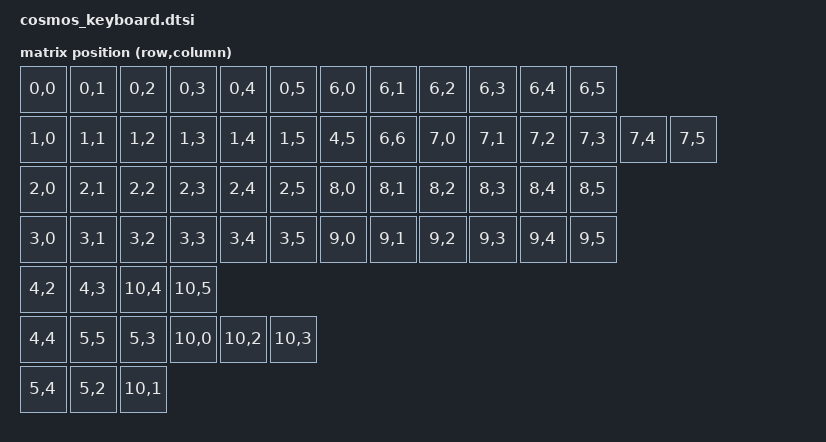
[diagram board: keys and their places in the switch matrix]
#include "cosmos_keyboard-layouts.dtsi"
#include <dt-bindings/zmk/matrix_transform.h>

/ {
    matrix_transform0: matrix_transform0 {
        compatible = "zmk,matrix-transform";
        columns = <7>;
        rows = <11>;
        map = <
            RC(0,0) RC(0,1) RC(0,2) RC(0,3) RC(0,4) RC(0,5) RC(6,0) RC(6,1) RC(6,2) RC(6,3) RC(6,4) RC(6,5)
            RC(1,0) RC(1,1) RC(1,2) RC(1,3) RC(1,4) RC(1,5) RC(4,5) RC(6,6) RC(7,0) RC(7,1) RC(7,2) RC(7,3) RC(7,4) RC(7,5)
            RC(2,0) RC(2,1) RC(2,2) RC(2,3) RC(2,4) RC(2,5) RC(8,0) RC(8,1) RC(8,2) RC(8,3) RC(8,4) RC(8,5)
            RC(3,0) RC(3,1) RC(3,2) RC(3,3) RC(3,4) RC(3,5) RC(9,0) RC(9,1) RC(9,2) RC(9,3) RC(9,4) RC(9,5)
            RC(4,2) RC(4,3) RC(10,4) RC(10,5)
            RC(4,4) RC(5,5) RC(5,3) RC(10,0) RC(10,2) RC(10,3)
            RC(5,4) RC(5,2) RC(10,1)
        >;
    };
};

&physical_layout_cosmos_keyboard {
    transform = <&matrix_transform0>;
};

// Encoders for all parts of the keyboard.
// If the encoder(s) are not behaving as expected,
// update steps and triggers-per-rotation to match your hardware.
// All pin assignments are done in the part overlays.

/ {
    encoder_left0: encoder_left0 {
        compatible = "alps,ec11";
        steps = <80>;
        status = "disabled";
    };
    encoder_right0: encoder_right0 {
        compatible = "alps,ec11";
        steps = <80>;
        status = "disabled";
    };
    encoder_right1: encoder_right1 {
        compatible = "alps,ec11";
        steps = <80>;
        status = "disabled";
    };

    sensors: sensors {
        compatible = "zmk,keymap-sensors";
        sensors = <&encoder_left0 &encoder_right0 &encoder_right1>;
        triggers-per-rotation = <20>;
    };
};

// Input devices
/ {
    split_inputs {
        #address-cells = <1>;
        #size-cells = <0>;

        input_split_left0: input_split_left0@0 {
            compatible = "zmk,input-split";
            reg = <0>;
            status = "disabled";
        };
    };

    input_listener_left0: input_listener_left0 {
        compatible = "zmk,input-listener";
        status = "disabled";
        device = <&input_split_left0>;
    };
};
